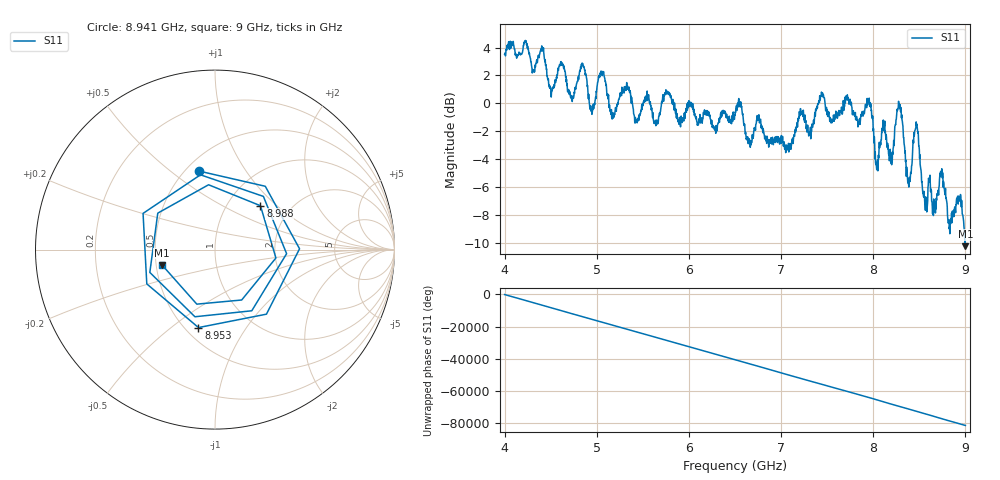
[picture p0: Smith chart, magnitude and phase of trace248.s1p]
! Created with skrf 1.8.0 (http://scikit-rf.org).
# Hz S RI R 50.0
!freq ReS11 ImS11
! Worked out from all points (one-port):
!   1601 points, 4 GHz to 9 GHz, reference 50 ohm
!   lowest |S11| = -10.2 dB at 9 GHz (marker M1), VSWR 1.89, Z = 26.8 - j5.04 ohm
!   |S11| at or under -10 dB: 8.997961 GHz to end of sweep
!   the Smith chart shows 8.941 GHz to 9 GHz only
!   S11 on the Smith chart (normalised r, x): 8.941 GHz: 0.58, +0.63; 8.953 GHz: 0.58, -0.63; 8.988 GHz: 1.42, +0.79; 9 GHz: 0.54, -0.10
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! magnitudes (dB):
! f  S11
! 4 GHz  3.5
! 4.403 GHz  4.1
! 4.509 GHz  0.8
! 4.625 GHz  2.7
! 4.728 GHz  0.5
! 4.856 GHz  2.6
! 4.944 GHz  -0.5
! 5.05 GHz  2.2
! 5.169 GHz  -1.1
! 5.25 GHz  0.5
! 5.875 GHz  -1.0
! 6.5 GHz  -0.9
! 7.125 GHz  -2.7
! 7.444 GHz  0.5
! 7.75 GHz  0.2
! 7.956 GHz  0.4
! 8.044 GHz  -4.5
! 8.116 GHz  -2.0
! 8.2 GHz  -4.4
! 8.284 GHz  -0.1
! 8.375 GHz  -5.7
! 8.466 GHz  -1.3
! 8.562 GHz  -7.2
! 8.741 GHz  -4.9
! 8.941 GHz  -7.0
! 8.953 GHz  -7.1
! 8.988 GHz  -9.1
! 9 GHz  -10.2
